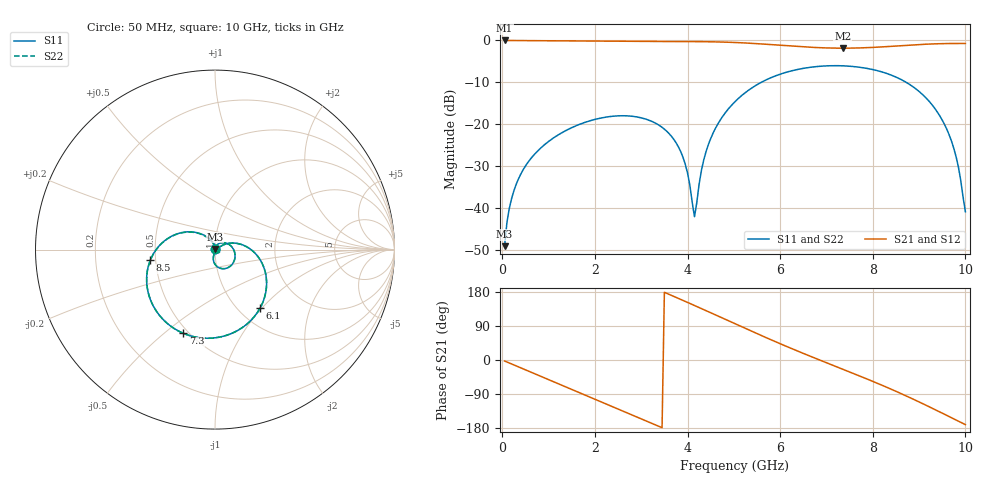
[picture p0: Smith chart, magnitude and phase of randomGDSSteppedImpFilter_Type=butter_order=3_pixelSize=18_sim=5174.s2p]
! freq	dB(S11)	phase(S11)	dB(S12)	phase(S12)
!  dB(S21)	phase(S21)	dB(S22)	phase(S22)
!S-par simulation data
#  GHz  S  DB  R 50
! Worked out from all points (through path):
!   200 points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, 50 MHz to 10 GHz, reference 50 ohm
!   highest |S21| = 0.00 dB at 50 MHz (marker M1); lowest = -1.8 dB at 7.35 GHz (marker M2)
!   group delay of S21, straight-line fit = 146 ps
!   lowest |S11| = -49.1 dB at 50 MHz (marker M3), VSWR 1.01, Z = 50 + j0.346 ohm
!   |S11| at or under -10 dB: start of sweep to 5.593 GHz; 8.721 GHz to end of sweep
!   |S22| runs from -49.1 to -6.0 dB; largest |S21 - S12| = 0
!   S11 on the Smith chart (normalised r, x): 50 MHz: 1.00, +0.01; 6.1 GHz: 1.24, -0.98; 7.3 GHz: 0.47, -0.58; 8.5 GHz: 0.47, -0.06; 10 GHz: 1.02, +0.01
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0.05  -49.14 82.4  -0.00 -2.6  -0.00 -2.6  -49.14 82.4
0.2  -37.81 76.3  -0.02 -10.4  -0.02 -10.4  -37.81 76.4
0.5  -30.00 63.1  -0.04 -25.9  -0.04 -25.9  -30.00 63.2
1.15  -22.96 30.7  -0.09 -59.5  -0.09 -59.5  -22.96 30.8
1.75  -19.71 0.2  -0.15 -90.5  -0.15 -90.5  -19.71 0.3
2.5  -18.01 -37.9  -0.22 -129.2  -0.22 -129.2  -18.01 -37.8
3.4  -20.37 -82.8  -0.26 -176.1  -0.26 -176.1  -20.37 -82.6
3.9  -27.85 -102.5  -0.27 157.4  -0.27 157.4  -27.83 -102.1
4.15  -42.09 -38.9  -0.28 143.9  -0.28 143.9  -41.72 -38.8
4.3  -31.05 28.9  -0.29 135.7  -0.29 135.7  -31.01 28.2
4.45  -24.87 29.1  -0.31 127.5  -0.31 127.5  -24.87 28.8
5.05  -14.35 2.0  -0.50 94.3  -0.50 94.3  -14.35 1.9
6.1  -7.71 -52.5  -1.24 37.8  -1.24 37.8  -7.71 -52.5
6.7  -6.35 -82.1  -1.66 7.5  -1.66 7.5  -6.35 -82.1
7.3  -6.04 -110.8  -1.84 -21.8  -1.84 -21.8  -6.04 -110.8
7.35  -6.06 -113.2  -1.85 -24.2  -1.85 -24.2  -6.06 -113.1
8.35  -8.08 -162.8  -1.44 -74.5  -1.44 -74.5  -8.08 -162.6
8.5  -8.75 -170.7  -1.33 -82.6  -1.33 -82.6  -8.74 -170.5
9.05  -12.67 158.3  -0.95 -113.5  -0.95 -113.5  -12.66 158.8
9.55  -20.09 126.8  -0.75 -143.3  -0.75 -143.3  -20.08 128.0
9.85  -30.30 98.2  -0.72 -161.4  -0.72 -161.4  -30.36 102.6
10  -40.93 23.8  -0.73 -170.5  -0.73 -170.5  -43.47 29.9
